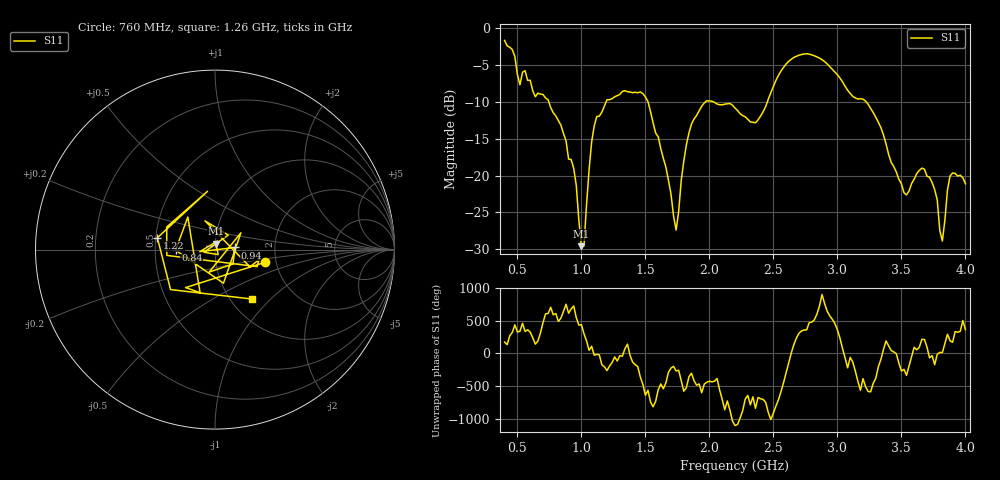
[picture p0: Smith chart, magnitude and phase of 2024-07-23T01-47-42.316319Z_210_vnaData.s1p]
!Created with skrf (http://scikit-rf.org).
# Hz S RI R 50.0
!freq ReS11 ImS11
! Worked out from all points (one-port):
!   181 points, 400 MHz to 4 GHz, reference 50 ohm
!   lowest |S11| = -29.6 dB at 1 GHz (marker M1), VSWR 1.07, Z = 50.4 + j3.3 ohm
!   |S11| at or under -10 dB: 745.6 MHz to 1.193 GHz (447.2 MHz wide, 46.1 % of centre); 1.521 GHz to 1.969 GHz (448 MHz wide, 25.7 % of centre); 3.226 GHz to end of sweep (the widest 3 of 4)
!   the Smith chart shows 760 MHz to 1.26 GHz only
!   S11 on the Smith chart (normalised r, x): 760 MHz: 1.76, -0.27; 840 MHz: 0.64, -0.00; 940 MHz: 1.25, +0.03; 1.22 GHz: 0.51, +0.08; 1.26 GHz: 1.25, -0.78
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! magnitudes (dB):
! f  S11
! 400 MHz  -1.6
! 520 MHz  -7.7
! 760 MHz  -10.8
! 840 MHz  -13.2
! 860 MHz  -14.3
! 940 MHz  -19.0
! 1 GHz  -29.6
! 1.02 GHz  -29.6
! 1.1 GHz  -13.3
! 1.22 GHz  -9.7
! 1.26 GHz  -9.3
! 1.3 GHz  -9.0
! 1.52 GHz  -9.9
! 1.74 GHz  -27.4
! 1.76 GHz  -24.9
! 1.82 GHz  -15.8
! 1.88 GHz  -12.3
! 2.2 GHz  -10.8
! 2.36 GHz  -12.8
! 2.66 GHz  -3.9
! 3.1 GHz  -8.8
! 3.28 GHz  -11.4
! 3.56 GHz  -22.1
! 3.68 GHz  -19.1
! 3.76 GHz  -21.9
! 3.82 GHz  -28.9
! 3.88 GHz  -20.1
! 4 GHz  -21.1
